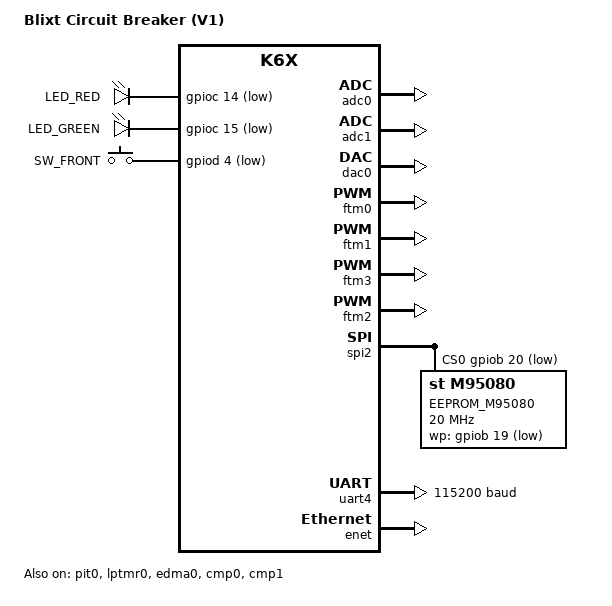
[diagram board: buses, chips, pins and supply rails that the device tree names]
/* SPDX-License-Identifier: Apache-2.0 */

/dts-v1/;

#include <nxp/nxp_k6x.dtsi>
#include <dt-bindings/pinctrl/kinetis-pinmux.h>
#include <dt-bindings/adc/kinetis-adc.h>
#include <dt-bindings/timer/input-capture.h>
#include <dt-bindings/timer/kinetis-ftm.h>
#include <dt-bindings/cmp/kinetis-cmp.h>

/ {
    model = "Blixt Circuit Breaker (V1)";
    compatible = "nxp,mk64f12", "nxp,k64f", "nxp,k6x";

    /* These aliases are provided for compatibility with the samples */
    aliases {
        //led0 = &led_red;
        //led1 = &led_green;
        sw1 = &sw_front;
        breaker = &breaker;
    };

    chosen {
        zephyr,sram = &sram0;
        zephyr,flash = &flash0;
        zephyr,code-partition = &slot0_partition;
        zephyr,console = &uart4;
        zephyr,shell-uart = &uart4;
        zephyr,uart-pipe = &uart4;

        breaker,config_eeprom = &eeprom0;
    };

    
    soc {
        /* PIT is not in nxp_k6x.dtsi. */
        pit0: pit@40037000 {
            compatible = "nxp,kinetis-pit-ctd-counter";
            reg = <0x40037000 0x140>;
            clocks = <&sim KINETIS_SIM_BUS_CLK 0x103c 23>;
            interrupts = <48 0>, <49 0>, <50 0>, <51 0>;
            label = "PIT_0";
            status = "okay";
        };

        /* LPTMR is not in nxp_k6x.dtsi. */
        lptmr0: lptmr@40040000 {
            compatible = "nxp,kinetis-lptmr";
            reg = <0x40040000 0x10>;
            clocks = <&sim KINETIS_SIM_BUS_CLK 0x1038 0>;
            interrupts = <58 0>;
            clk-source = <0>;           /* MCGIRCLK- 32768 Hz */
            clock-frequency = <32768>;
            prescaler = <0>;            /* devided by 2 */
            period = <16384>;
            label = "LPTMR_0";
            status = "okay";
        };

        /* Due to the driver API limitations, a partially implemented DMA driver is used.
         * This driver only initialises the DMA and DMAMUX. 
         */
        edma0: dma-controller@40008000 {
            compatible = "nxp,kinetis-edma-partial";
            dma-channels = <16>;
            dma-requests = <64>;
            reg = <0x40008000 0x1000>, <0x40021000 0x1000>;
            reg-names = "DMA", "MUX";
            interrupts =    <0 0>,  <1 0>,  <2 0>,  <3 0>,
                            <4 0>,  <5 0>,  <6 0>,  <7 0>,
                            <8 0>,  <9 0>,  <10 0>, <11 0>,
                            <12 0>, <13 0>, <14 0>, <15 0>,
                            <16 0>;
            clocks =    <&sim KINETIS_SIM_CORESYS_CLK 0x1040 0x00000002>,   /* DMA clock */
                        <&sim KINETIS_SIM_BUS_CLK 0x103C 0x00000002>;       /* DMAMUX clock */
            clock-names = "DMA", "MUX";
            label = "EDMA0";
            #dma-cells = <3>;
            status = "okay";
        };

        cmp0: cmp@40073000 {
            compatible = "nxp,kinetis-cmp";
            reg = <0x40073000 0x6>;
            clocks = <&sim KINETIS_SIM_BUS_CLK 0x1034 19>;
            interrupts = <40 0>;
            filter_count = <7>;
            filter_period = <255>;
            hysteresis = <KINETIS_CMP_HYSTERESIS_L0>;
            label = "CMP_0";
            #comparator-cells = <3>;
            status = "okay";
        };

        cmp1: cmp@40073008 {
            compatible = "nxp,kinetis-cmp";
            reg = <0x40073008 0x6>;
            clocks = <&sim KINETIS_SIM_BUS_CLK 0x1034 19>;
            interrupts = <41 0>;
            filter_count = <7>;
            filter_period = <255>;
            hysteresis = <KINETIS_CMP_HYSTERESIS_L3>;
            label = "CMP_1";
            #comparator-cells = <3>;
            status = "okay";
        };

        cmp2: cmp@40073010 {
            compatible = "nxp,kinetis-cmp";
            reg = <0x40073010 0x6>;
            clocks = <&sim KINETIS_SIM_BUS_CLK 0x1034 19>;
            interrupts = <70 0>;
            filter_count = <7>;
            filter_period = <32>;
            hysteresis = <KINETIS_CMP_HYSTERESIS_L0>;
            label = "CMP_2";
            #comparator-cells = <3>;
            status = "disabled";
        };
    };

    pins {
        uart4_pins: uart4_pins {
            compatible = "blixt,pins";
            pinmuxs =   <&porte 24 PORT_PCR_MUX(PORT_PCR_MUX_ALT3)>,    /* UART_TX */
                        <&porte 25 PORT_PCR_MUX(PORT_PCR_MUX_ALT3)>;    /* UART_RX */
            pinmux-names =  "UART_TX",
                            "UART_RX";
            label = "UART4_PINS";
        };

        spi2_pins: spi2_pins {
            compatible = "blixt,pins";
            pinmuxs =   <&portb 23 PORT_PCR_MUX(PORT_PCR_MUX_ALT2)>,    /* SPI_MISO */
                        <&portb 22 PORT_PCR_MUX(PORT_PCR_MUX_ALT2)>,    /* SPI_MOSI */
                        <&portb 21 PORT_PCR_MUX(PORT_PCR_MUX_ALT2)>;    /* SPI_SCLK */
            pinmux-names =  "SPI_MISO",
                            "SPI_MOSI",
                            "SPI_SCLK";
            label = "SPI2_PINS";
        };

        eeprom0_pins: eeprom0_pins {
            compatible = "blixt,pins";
            pinmuxs =   <&portb 20 PORT_PCR_MUX(PORT_PCR_MUX_ALT2)>,    /* EEPROM_SS */
                        <&portb 19 PORT_PCR_MUX(PORT_PCR_MUX_GPIO)>;    /* EEPROM_WP */
            pinmux-names =  "EEPROM_SS",
                            "EEPROM_WP";
            label = "EEPROM0_PINS";
        };

        enet_pins: enet_pins {
            compatible = "blixt,pins";
            pinmuxs =   <&porta 5  PORT_PCR_MUX(PORT_PCR_MUX_ALT4)>,    /* PHY_RXER */
                        <&porta 12 PORT_PCR_MUX(PORT_PCR_MUX_ALT4)>,    /* PHY_RXD1 */
                        <&porta 13 PORT_PCR_MUX(PORT_PCR_MUX_ALT4)>,    /* PHY_RXD0 */
                        <&porta 14 PORT_PCR_MUX(PORT_PCR_MUX_ALT4)>,    /* PHY_CRS_DV */
                        <&porta 15 PORT_PCR_MUX(PORT_PCR_MUX_ALT4)>,    /* PHY_TXEN */
                        <&porta 16 PORT_PCR_MUX(PORT_PCR_MUX_ALT4)>,    /* PHY_TXD0 */
                        <&porta 17 PORT_PCR_MUX(PORT_PCR_MUX_ALT4)>,    /* PHY_TXD1 */
                        <&portb 0  (PORT_PCR_MUX(PORT_PCR_MUX_ALT4) 
                                    | PORT_PCR_ODE_MASK 
                                    | PORT_PCR_PE_MASK 
                                    | PORT_PCR_PS_MASK)>,               /* PHY_MDIO */
                        <&portb 1  PORT_PCR_MUX(PORT_PCR_MUX_ALT4)>,    /* PHY_MDC */
                        <&portb 2  PORT_PCR_MUX(PORT_PCR_MUX_DISABLED_OR_ANALOG)>,    /* PHY_RESET */
                        <&portb 3  PORT_PCR_MUX(PORT_PCR_MUX_DISABLED_OR_ANALOG)>;    /* PHY_INTERRUPT */

            pinmux-names =  "PHY_RXER",
                            "PHY_RXD1",
                            "PHY_RXD0",
                            "PHY_CRS_DV",
                            "PHY_TXEN",
                            "PHY_TXD0",
                            "PHY_TXD1",
                            "PHY_MDIO",
                            "PHY_MDC",
                            "PHY_RESET",
                            "PHY_INTERRUPT";
            label = "ENET_PINS";
        };

        breaker_pins: breaker_pins {
            compatible = "blixt,pins";
            pinmuxs =   <&portc 14 PORT_PCR_MUX(PORT_PCR_MUX_GPIO)>,    /* LED_RED */
                        <&portc 15 PORT_PCR_MUX(PORT_PCR_MUX_GPIO)>,    /* LED_GREEN */
                        <&portc 13 PORT_PCR_MUX(PORT_PCR_MUX_GPIO)>,    /* SW_FRONT */
                        <&portd 4  PORT_PCR_MUX(PORT_PCR_MUX_GPIO)>,    /* ON_OFF */
                        <&portd 5  PORT_PCR_MUX(PORT_PCR_MUX_GPIO)>,    /* OCP_OTP_RESET */
                        <&portd 0  PORT_PCR_MUX(PORT_PCR_MUX_ALT4)>,    /* ON_OFF_STATUS */
                        <&portd 6  PORT_PCR_MUX(PORT_PCR_MUX_GPIO)>,    /* OCP_TEST_TR_N */
                        <&portd 7  PORT_PCR_MUX(PORT_PCR_MUX_GPIO)>,    /* OCP_TEST_TR_P */
                        <&portb 18 PORT_PCR_MUX(PORT_PCR_MUX_ALT3)>,    /* OCP_TEST_ADJ_PWM */
                        <&portc 2  PORT_PCR_MUX(PORT_PCR_MUX_DISABLED_OR_ANALOG)>,    /* V_MAINS */
                        <&portc 0  PORT_PCR_MUX(PORT_PCR_MUX_DISABLED_OR_ANALOG)>,    /* I_LOW_GAIN */
                        <&portc 1  PORT_PCR_MUX(PORT_PCR_MUX_DISABLED_OR_ANALOG)>,    /* I_HIGH_GAIN */
                        <&portc 9  PORT_PCR_MUX(PORT_PCR_MUX_DISABLED_OR_ANALOG)>,    /* T_MOSFET_OUT */
                        <&porte 1  PORT_PCR_MUX(PORT_PCR_MUX_DISABLED_OR_ANALOG)>,    /* T_MOSFET_IN */
                        <&portb 10 PORT_PCR_MUX(PORT_PCR_MUX_DISABLED_OR_ANALOG)>,    /* T_AMBIENT */
                        <&portc 8  PORT_PCR_MUX(PORT_PCR_MUX_DISABLED_OR_ANALOG)>,    /* REF_1V5 */
                        <&portc 10 PORT_PCR_MUX(PORT_PCR_MUX_DISABLED_OR_ANALOG)>,    /* HW_REV_IN */
                        <&portc 11 PORT_PCR_MUX(PORT_PCR_MUX_DISABLED_OR_ANALOG)>,    /* HW_REV_OUT */
                        <&portb 11 PORT_PCR_MUX(PORT_PCR_MUX_DISABLED_OR_ANALOG)>,    /* HW_REV_CTRL */
                        <&portd 1  PORT_PCR_MUX(PORT_PCR_MUX_ALT4)>,    /* ON_OFF_STATUS_M (mirrored) */
                        <&portd 2  PORT_PCR_MUX(PORT_PCR_MUX_ALT4)>,    /* OCP_TEST_TR_N_M (mirrored) */
                        <&portd 3  PORT_PCR_MUX(PORT_PCR_MUX_ALT4)>,    /* OCP_TEST_TR_P_M (mirrored) */
                        <&portc 6  PORT_PCR_MUX(PORT_PCR_MUX_DISABLED_OR_ANALOG)>,    /* I_LOW_GAIN_CMP0_IN0 */
                        <&portc 7  PORT_PCR_MUX(PORT_PCR_MUX_DISABLED_OR_ANALOG)>,    /* I_HIGH_GAIN_CMP0_IN1 */
                        <&portc 3  PORT_PCR_MUX(PORT_PCR_MUX_DISABLED_OR_ANALOG)>,    /* REF_1V5_CMP1_IN1 */
                        <&portc 5  PORT_PCR_MUX(PORT_PCR_MUX_ALT7)>;                  /* ZD_V_MAINS */
            pinmux-names =  "LED_RED",
                            "LED_GREEN",
                            "SW_FRONT",
                            "ON_OFF",
                            "OCP_OTP_RESET",
                            "ON_OFF_STATUS",
                            "OCP_TEST_TR_N",
                            "OCP_TEST_TR_P",
                            "OCP_TEST_ADJ_PWM",
                            "V_MAINS",
                            "I_LOW_GAIN",
                            "I_HIGH_GAIN",
                            "T_MOSFET_OUT",
                            "T_MOSFET_IN",
                            "T_AMBIENT",
                            "REF_1V5",
                            "HW_REV_IN",
                            "HW_REV_OUT",
                            "HW_REV_CTRL",
                            "ON_OFF_STATUS_M",
                            "OCP_TEST_TR_N_M",
                            "OCP_TEST_TR_P_M",
                            "I_LOW_GAIN_CMP0_IN0",
                            "I_HIGH_GAIN_CMP0_IN1",
                            "REF_1V5_CMP1_IN1",
                            "ZD_V_MAINS";
            label = "BREAKER_PINS";
        };
    };

    devices {
        breaker: breaker {
            compatible = "blixt,breaker";
            label = "BLIXT_BREAKER";
            leds {
                compatible = "gpio-leds";
                led_red: led_red {
                    gpios = <&gpioc 14 GPIO_ACTIVE_LOW>;
                    label = "LED_RED";
                };
                led_green: led_green {
                    gpios = <&gpioc 15 GPIO_ACTIVE_LOW>;
                    label = "LED_GREEN";
                };
            };

            user_iface: user_iface {
                compatible = "blixt,breaker-gpio";
                gpios = <&gpioc 14 GPIO_ACTIVE_LOW>, 
                        <&gpioc 15 GPIO_ACTIVE_LOW>,
                        <&gpiod 4 GPIO_ACTIVE_LOW>;
                gpio-names =    "LED_RED", 
                                "LED_GREEN", 
                                "SW_FRONT";
                label = "USER_IFACE";
            };

            switches {
                compatible = "gpio-keys";
                sw_front: sw_front {
                    gpios = <&gpiod 4 GPIO_ACTIVE_LOW>;
                    label = "SW_FRONT";
                };
            };

            dctrl: dctrl {
                compatible = "blixt,breaker-gpio";
                gpios = <&gpiod 4  GPIO_ACTIVE_HIGH>, 
                        <&gpiod 5  GPIO_ACTIVE_HIGH>,
                        <&gpiod 0  GPIO_ACTIVE_HIGH>,
                        <&gpiod 6  GPIO_ACTIVE_HIGH>,
                        <&gpiod 7  GPIO_ACTIVE_HIGH>,
                        <&gpioc 5  GPIO_ACTIVE_HIGH>;
                gpio-names =    "ON_OFF", 
                                "OCP_OTP_RESET",
                                "ON_OFF_STATUS",
                                "OCP_TEST_TR_N",
                                "OCP_TEST_TR_P",
                                "ZD_V_MAINS";
                label = "DCTRL_IO";
            };

            actrl: actrl {
                compatible = "blixt,breaker-dac";
                io-channels =  <&dac0 0>;
                io-channel-names = "OCP_LIMIT_ADJ";
                /* FTM based PWM driver uses Fixed Frequency Clock of 1.5625 MHz without prescaling. */
                pwms = <&ftm2 0 77 0>; /* FTM2_CH0, ~20khz */
                pwm-names = "OCP_TEST_ADJ";
                label = "ANALOG_CTRL";
            };

            itimestamp: itimestamp {
                compatible = "blixt,breaker-input-timestamp";
                input-captures =    <&ftm3 0 IC_EDGE_SINGLE_RISING>,
                                    <&ftm3 1 IC_EDGE_SINGLE_FALLING>,
                                    <&ftm3 2 IC_EDGE_SINGLE_RISING>,
                                    <&ftm3 3 IC_EDGE_SINGLE_RISING>,
                                    <&ftm0 2 IC_EDGE_DUAL_PULSE_RISING>;
                input-capture-names =   "ON_OFF_STATUS_R",  /* capturing the rising edge */
                                        "ON_OFF_STATUS_F",  /* capturing the falling edge */
                                        "OCP_TEST_TR_N",    /* only rising edge */
                                        "OCP_TEST_TR_P",    /* only rising edge */
                                        "ZD_V_MAINS";       /* pulse at rising edge */
                label = "INPUT_TIMESTAMP";
            };

            aread: aread {
                compatible = "blixt,breaker-adc";
                io-channels =   <&adc0 14 KINETIS_ADC_MUXSEL_A>, /* I_LOW_GAIN */
                                <&adc0 15 KINETIS_ADC_MUXSEL_A>, /* I_HIGH_GAIN */
                                <&adc0 4  KINETIS_ADC_MUXSEL_B>, /* V_MAINS */
                                <&adc1 5  KINETIS_ADC_MUXSEL_A>, /* T_MOSFET_IN */
                                <&adc1 5  KINETIS_ADC_MUXSEL_B>, /* T_MOSFET_OUT */
                                <&adc1 14 KINETIS_ADC_MUXSEL_A>, /* T_AMBIENT */
                                <&adc1 26 KINETIS_ADC_MUXSEL_A>, /* T_MCU */
                                <&adc1 6  KINETIS_ADC_MUXSEL_B>, /* HW_REV_IN */
                                <&adc1 7  KINETIS_ADC_MUXSEL_B>, /* HW_REV_OUT */
                                <&adc1 15 KINETIS_ADC_MUXSEL_A>, /* HW_REV_CTRL */
                                <&adc1 4  KINETIS_ADC_MUXSEL_A>, /* OC_TEST_ADJ */
                                <&adc1 4  KINETIS_ADC_MUXSEL_B>; /* REF_1V5 */
                io-channel-names =  "I_LOW_GAIN", 
                                    "I_HIGH_GAIN",
                                    "V_MAINS",
                                    "T_MOSFET_IN", 
                                    "T_MOSFET_OUT", 
                                    "T_AMBIENT",
                                    "T_MCU",
                                    "HW_REV_IN",
                                    "HW_REV_OUT",
                                    "HW_REV_CTRL",
                                    "OC_TEST_ADJ",
                                    "REF_1V5";  
                label = "ANALOG_READ";
            };

            acmp: acmp {
                /* Have to make DTS bingings and devicetree nodes for the comparators */
                compatible = "blixt,breaker-cmp";
                comparators =   <&cmp1 0 1 (KINETIS_CMP_EDGE_RISING | KINETIS_CMP_EDGE_FALLING)>,
                                <&cmp0 1 2 KINETIS_CMP_EDGE_RISING>;
                comparator-names =  "V_ZD", "I_ZD";
                label = "ANALOG_CMP";
            };

        };
    };
};

&cpu0 {
    clock-frequency = <120000000>;
};

/* Overlay pinmux nodes with the label property to use use devicetree API. */
&porta {
    label = "porta";
    #pinmux-cells = <2>;
};

&portb {
    label = "portb";
    #pinmux-cells = <2>;
};

&portc {
    label = "portc";
    #pinmux-cells = <2>;
};

&portd {
    label = "portd";
    #pinmux-cells = <2>;
};

&porte {
    label = "porte";
    #pinmux-cells = <2>;
};

/* Enable GPIOs */
&gpioa {
    status = "okay";
};

&gpiob {
    status = "okay";
};

&gpioc {
    status = "okay";
};

&gpiod {
    status = "okay";
};

&gpioe {
    status = "okay";
};

&temp0 {
    io-channels = <&adc0 26 KINETIS_ADC_MUXSEL_A>, <&adc0 27 KINETIS_ADC_MUXSEL_A>;
};

&temp1 {
    io-channels = <&adc1 26 KINETIS_ADC_MUXSEL_A>, <&adc1 27 KINETIS_ADC_MUXSEL_A>;
};

&adc0 {
    compatible = "nxp,kinetis-adc16-edma";
    triggers = <&ftm1 KINETIS_ADC_TRG_FTM_1>;
    max-channels = <3>;
    dmas =  <&edma0 0 40 0>, <&edma0 0 60 1>;
    dma-names = "RESULT", "CH";
    sample-interval = <200>;
    #io-channel-cells = <2>;
    status = "okay";
};

&adc1 {
    compatible = "nxp,kinetis-adc16-edma";
    triggers = <&lptmr0 KINETIS_ADC_TRG_LPTMR>;
    max-channels = <9>;
    dmas =  <&edma0 0 41 2>, <&edma0 0 61 3>;
    dma-names = "RESULT", "CH";
    sample-interval = <200>;
    #io-channel-cells = <2>;
    status = "okay";
};

/* Used for OC limit adjustment */
&dac0 {
    voltage-reference = <2>;
    status = "okay";
};

/* Used to generate ADC0 trigger */
&ftm0 {
    compatible = "nxp,kinetis-ftm-input-capture";
    clock-source = <KINETIS_FTM_CLK_SRC_FIXED_CLK>;
    /* FTM prescaler is a 7-bit counter.
     * So multiply the value of here by two to get the actual precaler value.
     */
    prescaler = <1>;
    glitch-filter = <15>;
    #input-capture-cells = <2>;
    status = "okay";
};

/* Used to generate ADC1 trigger */
&ftm1 {
    compatible = "nxp,kinetis-ftm-trigger";
    clock-source = <KINETIS_FTM_CLK_SRC_FIXED_CLK>;
    /* FTM prescaler is a 7-bit counter.
     * So multiply the value of here by two to get the actual precaler value.
     */
    prescaler = <1>;
    trigger-source = <0>;
    #trigger-cells = <1>;
    status = "okay";
};

/* Used for measuring OCP trigger timing. */
&ftm3 {
    compatible = "nxp,kinetis-ftm-input-capture";
    clock-source = <KINETIS_FTM_CLK_SRC_SYSTEM_CLK>;
    /* FTM prescaler is a 7-bit counter.
     * So multiply the value of here by two to get the actual precaler value.
     */
    prescaler = <2>;
    glitch-filter = <0>;
    #input-capture-cells = <2>;
    status = "okay";
};

/* Used for OC test adjustment. */
/* FTM based PWM driver uses Fixed Frequency Clock (MCGFFCLK)
 * CLOCK_SetInternalRefClkConfig() call in soc.c causes the MCGFFCLK to be 1.5625 MHz (50 MHz/32)
 * Have a look at the implementation of CLOCK_SetInternalRefClkConfig() in fsl_clock.c 
 */
&ftm2 {
    compatible = "nxp,kinetis-ftm-pwm";
    /* FTM prescaler is a 7-bit counter.
     * So multiply the value of here by two to get the actual precaler value.
     */
    prescaler = <1>;
    #pwm-cells = <3>;
    status = "okay";
};

&lptmr0 {
    compatible = "nxp,kinetis-lptmr-trigger";
    clk-source = <0>;   /* MCGIRCLK- 32768 Hz */
    prescaler = <0>;    /* devided by 2 */
    period = <128>;
    #trigger-cells = <1>;
    status = "okay";
};

&spi0 {
    status = "disabled";
};

&spi2 {
    status = "okay";
    cs-gpios = <&gpiob 20  GPIO_ACTIVE_LOW>;

    eeprom0: eeprom@0 {
        compatible = "st,m95080";
        reg = <0x0>;
        spi-max-frequency = <20000000>;
        size = <1024>;
        pagesize = <32>;
        address-width = <16>;
        timeout = <5>;
        wp-gpios = <&gpiob 19  GPIO_ACTIVE_LOW>;
        label = "EEPROM_M95080";
        status = "okay";
    }; 
};

&uart4 {
    status = "okay";
    current-speed = <115200>;
};

&enet {
    status = "okay";
    ptp {
        status = "okay";
    };
};

&flash0 {
    /*
     * For more information, see:
     * http://docs.zephyrproject.org/latest/guides/dts/index.html#flash-partitions
     */
    partitions {
        compatible = "fixed-partitions";
        #address-cells = <1>;
        #size-cells = <1>;

        boot_partition: partition@0 {
            label = "mcuboot";
            reg = <0x00000000 0x00010000>;
            read-only;
        };

        /*
         * The flash starting at 0x00010000 and ending at
         * 0x0001ffff (sectors 16-31) is reserved for use
         * by the application.
         */
        storage_partition: partition@1e000 {
            label = "storage";
            reg = <0x0001e000 0x00002000>;
        };

        slot0_partition: partition@20000 {
            label = "image-0";
            reg = <0x00020000 0x00060000>;
        };
        slot1_partition: partition@80000 {
            label = "image-1";
            reg = <0x00080000 0x00060000>;
        };
        scratch_partition: partition@e0000 {
            label = "image-scratch";
            reg = <0x000e0000 0x00020000>;
        };
    };
};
